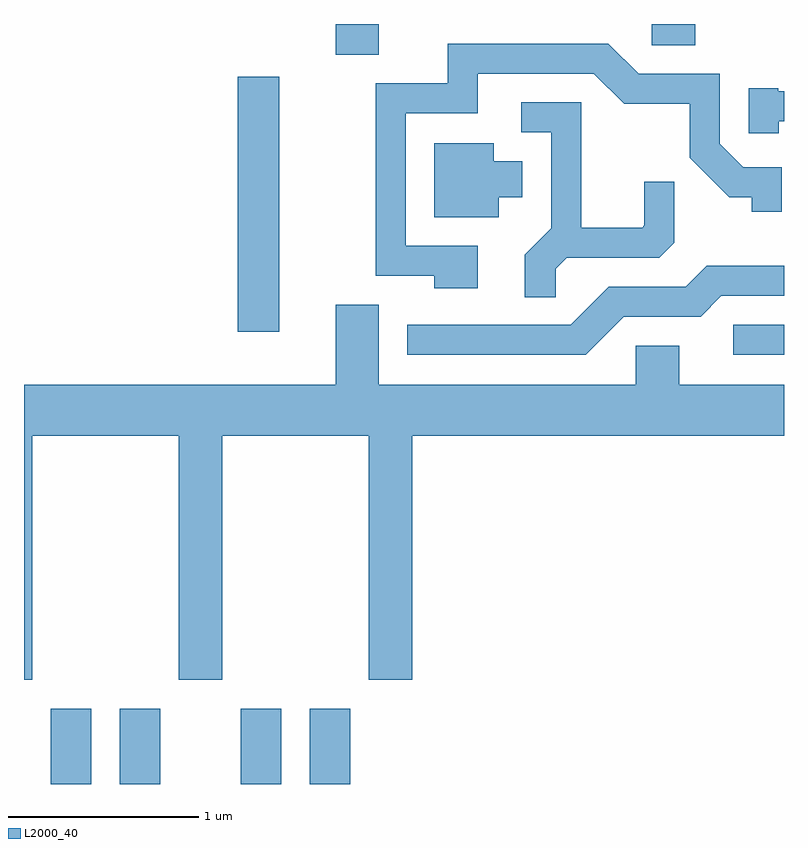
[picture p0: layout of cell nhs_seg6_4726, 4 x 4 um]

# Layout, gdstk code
import gdstk
lib = gdstk.Library(unit=1e-6, precision=1e-09)
def R(c, l, rs):  # rectangles x0, y0, x1, y1
    for r in rs: c.add(gdstk.rectangle(r[:2], r[2:], *l))
def P(c, l, *ps):  # polygons
    for p in ps: c.add(gdstk.Polygon(p, *l))
L2000_40 = (2000, 40)

nhs_seg6_4726 = lib.new_cell('nhs_seg6_4726')
R(nhs_seg6_4726, L2000_40, [(329.751,1588.162,329.964,1588.559), (330.116,1588.162,330.329,1588.559), (330.751,1588.162,330.964,1588.559), (331.116,1588.162,331.329,1588.559), (333.343,1590.421,333.611,1590.579), (330.736,1590.541,330.954,1591.884), (331.251,1592.001,331.479,1592.162), (332.916,1592.051,333.144,1592.162)])
P(nhs_seg6_4726, L2000_40, [(331.999,1590.994),(331.619,1590.994),(331.619,1591.691),(331.999,1591.691),(331.999,1591.901),(332.609,1591.901),(332.769,1591.741),(333.116,1591.741),(333.116,1591.459),(333.324,1591.251),(333.441,1591.251),(333.441,1591.173),(333.599,1591.173),(333.599,1591.409),(333.397,1591.409),(333.274,1591.532),(333.274,1591.899),(332.847,1591.899),(332.687,1592.059),(331.841,1592.059),(331.841,1591.849),(331.461,1591.849),(331.461,1590.836),(331.771,1590.836),(331.771,1590.771),(331.999,1590.771)],
  [(333.584,1591.651),(333.611,1591.651),(333.611,1591.809),(333.58,1591.809),(333.58,1591.824),(333.426,1591.824),(333.426,1591.588),(333.584,1591.588)],
  [(332.409,1590.874),(332.467,1590.931),(332.954,1590.931),(333.034,1591.012),(333.034,1591.333),(332.876,1591.333),(332.876,1591.102),(332.864,1591.089),(332.544,1591.089),(332.544,1591.749),(332.228,1591.749),(332.228,1591.591),(332.386,1591.591),(332.386,1591.087),(332.246,1590.947),(332.246,1590.723),(332.409,1590.723)],
  [(332.109,1591.251),(332.234,1591.251),(332.234,1591.439),(332.084,1591.439),(332.084,1591.534),(331.771,1591.534),(331.771,1591.146),(332.109,1591.146)],
  [(332.767,1590.621),(333.172,1590.621),(333.282,1590.731),(333.611,1590.731),(333.611,1590.889),(333.204,1590.889),(333.094,1590.779),(332.689,1590.779),(332.489,1590.579),(331.628,1590.579),(331.628,1590.421),(332.567,1590.421)],
  [(329.654,1589.996),(330.426,1589.996),(330.426,1588.711),(330.654,1588.711),(330.654,1589.996),(331.426,1589.996),(331.426,1588.711),(331.654,1588.711),(331.654,1589.996),(333.611,1589.996),(333.611,1590.264),(333.059,1590.264),(333.059,1590.469),(332.831,1590.469),(332.831,1590.264),(331.479,1590.264),(331.479,1590.684),(331.251,1590.684),(331.251,1590.264),(329.611,1590.264),(329.611,1588.711),(329.654,1588.711)])

lib.write_gds('nhs_seg6_4726.gds')
